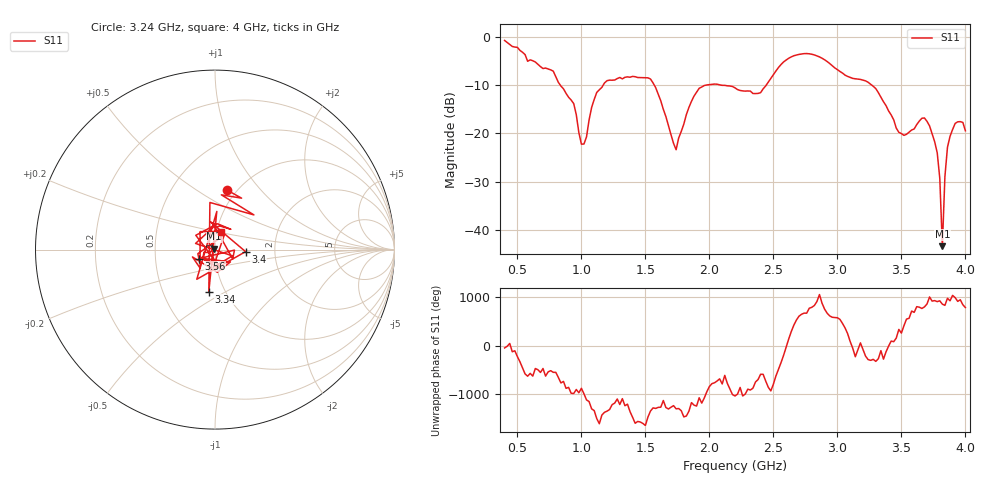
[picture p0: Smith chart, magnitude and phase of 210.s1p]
!Created with skrf (http://scikit-rf.org).
# Hz S RI R 50.0
!freq ReS11 ImS11
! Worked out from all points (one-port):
!   181 points, 400 MHz to 4 GHz, reference 50 ohm
!   lowest |S11| = -43.3 dB at 3.82 GHz (marker M1), VSWR 1.01, Z = 49.5 + j0.429 ohm
!   |S11| at or under -10 dB: 1.569 GHz to 1.976 GHz (406.9 MHz wide, 23 % of centre); 2.089 GHz to 2.444 GHz (355.2 MHz wide, 15.7 % of centre); 3.268 GHz to end of sweep (the widest 3 of 4)
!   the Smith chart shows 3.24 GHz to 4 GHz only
!   S11 on the Smith chart (normalised r, x): 3.24 GHz: 0.91, +0.68; 3.34 GHz: 0.84, -0.42; 3.4 GHz: 1.41, -0.03; 3.56 GHz: 0.83, -0.08; 4 GHz: 1.05, +0.21
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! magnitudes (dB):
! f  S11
! 400 MHz  -0.8
! 860 MHz  -10.8
! 940 MHz  -13.8
! 1 GHz  -22.2
! 1.02 GHz  -22.2
! 1.12 GHz  -11.5
! 1.3 GHz  -8.4
! 1.54 GHz  -8.8
! 1.74 GHz  -23.4
! 1.76 GHz  -20.9
! 1.92 GHz  -10.7
! 2.2 GHz  -10.6
! 2.4 GHz  -11.6
! 2.66 GHz  -3.9
! 3.1 GHz  -8.4
! 3.24 GHz  -9.4
! 3.34 GHz  -12.5
! 3.4 GHz  -15.3
! 3.48 GHz  -19.8
! 3.56 GHz  -19.7
! 3.68 GHz  -16.8
! 3.76 GHz  -21.7
! 3.8 GHz  -29.3
! 3.82 GHz  -43.3
! 3.84 GHz  -28.9
! 3.86 GHz  -22.8
! 3.92 GHz  -17.9
! 4 GHz  -19.4
